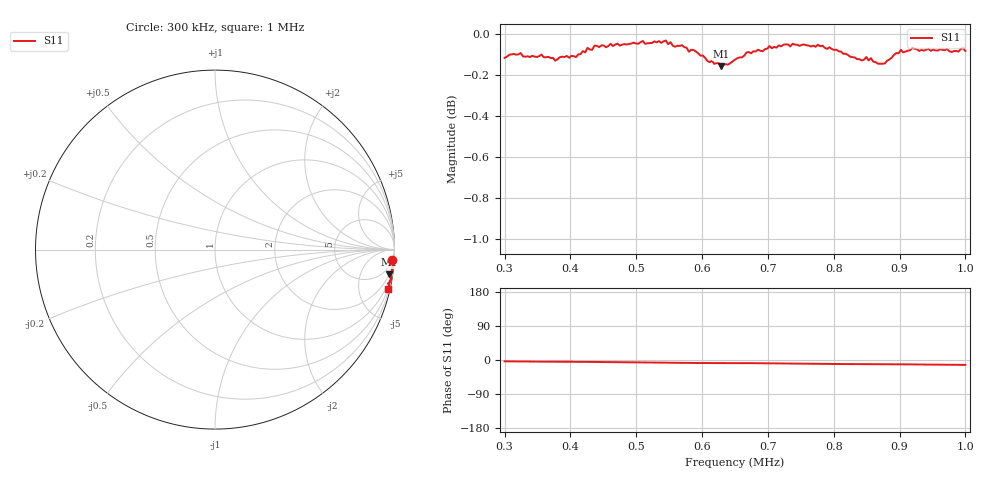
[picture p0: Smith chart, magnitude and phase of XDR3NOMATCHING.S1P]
!Agilent Technologies,E5071C,MY46100305,A.07.02
!Date: Fri Jan 01 00:27:25 1988
!Data & Calibration Information:
!Freq	S11:SOLT1(ON)
# Hz S MA R 50
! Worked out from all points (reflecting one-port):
!   201 points, 300 kHz to 1 MHz, reference 50 ohm
!   lowest |S11| = -0.2 dB at 629 kHz (marker M1), VSWR 109.14, Z = 90.2 - j694 ohm
!   phase of S11 starts at -3 deg and turns -9 deg over the sweep
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300000  0.9865 -3.5
324500  0.9892 -3.9
352500  0.9874 -4.2
363000  0.9868 -4.5
373500  0.9865 -4.4
387500  0.9872 -4.6
415500  0.9886 -4.8
436500  0.9933 -5.2
475000  0.9933 -5.8
545000  0.9962 -7.0
548500  0.9941 -7.2
562500  0.9932 -7.5
601000  0.9879 -8.0
629000  0.9818 -8.1
650000  0.9855 -8.1
657000  0.9868 -8.1
702500  0.993 -8.8
737500  0.9943 -9.3
748000  0.9931 -9.7
776000  0.9938 -10.1
811000  0.99 -10.8
825000  0.9871 -10.9
849500  0.987 -11.0
874000  0.9833 -11.1
902000  0.9909 -11.3
912500  0.9904 -11.4
944000  0.9914 -12.1
1000000  0.9903 -12.8
